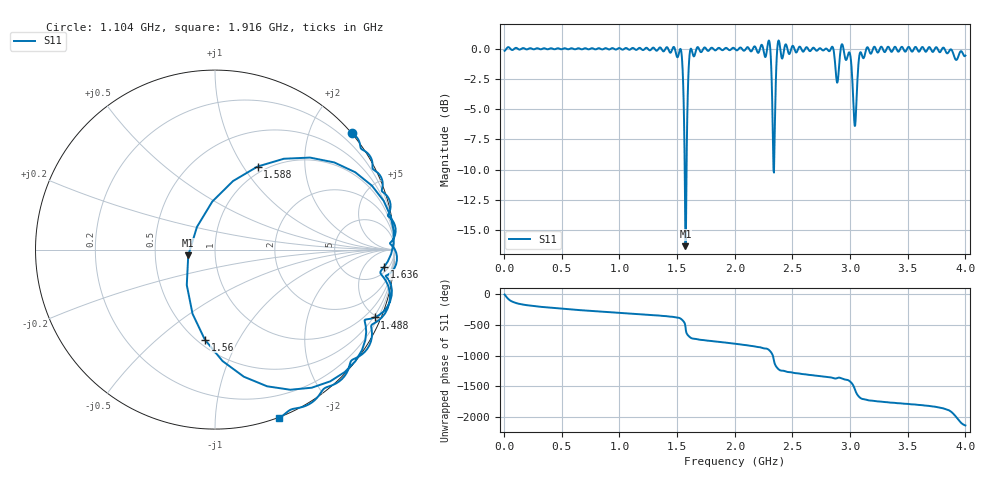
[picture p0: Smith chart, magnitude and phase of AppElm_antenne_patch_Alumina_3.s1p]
! TOUCHSTONE file generated by CST MICROWAVE STUDIO
! Date and time: Thu Jun  9 15:37:34 2022
! Project name: AppElm_antenne_patch_Alumina.cst
! Parameters = {L=30.5; W=41.8; e=0.035; h=1.6; lambda=0.190476; ls=90; w0=1.12; w1=0.373; ws=76.5; y0=14; y1=10}
! Header version: 2018
! Port assignment regex: !\s*Touchstone port\s*([0-9]+)\s*=\s*(CST MWS port|CST DS port)\s*([0-9]+|Zmin|Zmax)\s*\(\"(.*)\"\)(\s*mode\s*([0-9]+))?.*
! Touchstone port assignment:
! Touchstone port 1 = CST MWS port 1 ("")
# GHz S MA R 50
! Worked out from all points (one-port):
!   1000 points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, 4 MHz to 4 GHz, reference 50 ohm
!   lowest |S11| = -16.3 dB at 1.572 GHz (marker M1), VSWR 1.36, Z = 37 - j2.44 ohm
!   |S11| at or under -10 dB: 1.566 GHz to 1.582 GHz (15.92 MHz wide, 1.01 % of centre); 2.335832 GHz to 2.340547 GHz (4.716 MHz wide, 0.202 % of centre)
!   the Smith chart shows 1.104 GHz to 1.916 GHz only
!   S11 on the Smith chart (normalised r, x): 1.104 GHz: -0.01, +2.72; 1.488 GHz: 0.42, -4.88; 1.56 GHz: 0.54, -0.73; 1.588 GHz: 0.92, +1.16; 1.636 GHz: 8, -16; 1.916 GHz: -0.01, -1.45
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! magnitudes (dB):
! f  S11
! 4 MHz  -0.2
! 504 MHz  0.0
! 1.004 GHz  0.0
! 1.104 GHz  0.0
! 1.488 GHz  -0.3
! 1.504 GHz  -0.7
! 1.536 GHz  -0.2
! 1.56 GHz  -5.9
! 1.572 GHz  -16.3
! 1.588 GHz  -5.7
! 1.608 GHz  -0.5
! 1.636 GHz  -0.5
! 1.916 GHz  0.0
! 2.004 GHz  0.0
! 2.292 GHz  0.6
! 2.308 GHz  0.0
! 2.328 GHz  -5.9
! 2.34 GHz  -10.2
! 2.38 GHz  0.7
! 2.504 GHz  0.2
! 2.84 GHz  0.1
! 2.888 GHz  -2.8
! 2.932 GHz  0.4
! 3.004 GHz  -0.7
! 3.04 GHz  -6.4
! 3.096 GHz  -0.3
! 3.504 GHz  0.1
! 4 GHz  -0.6
